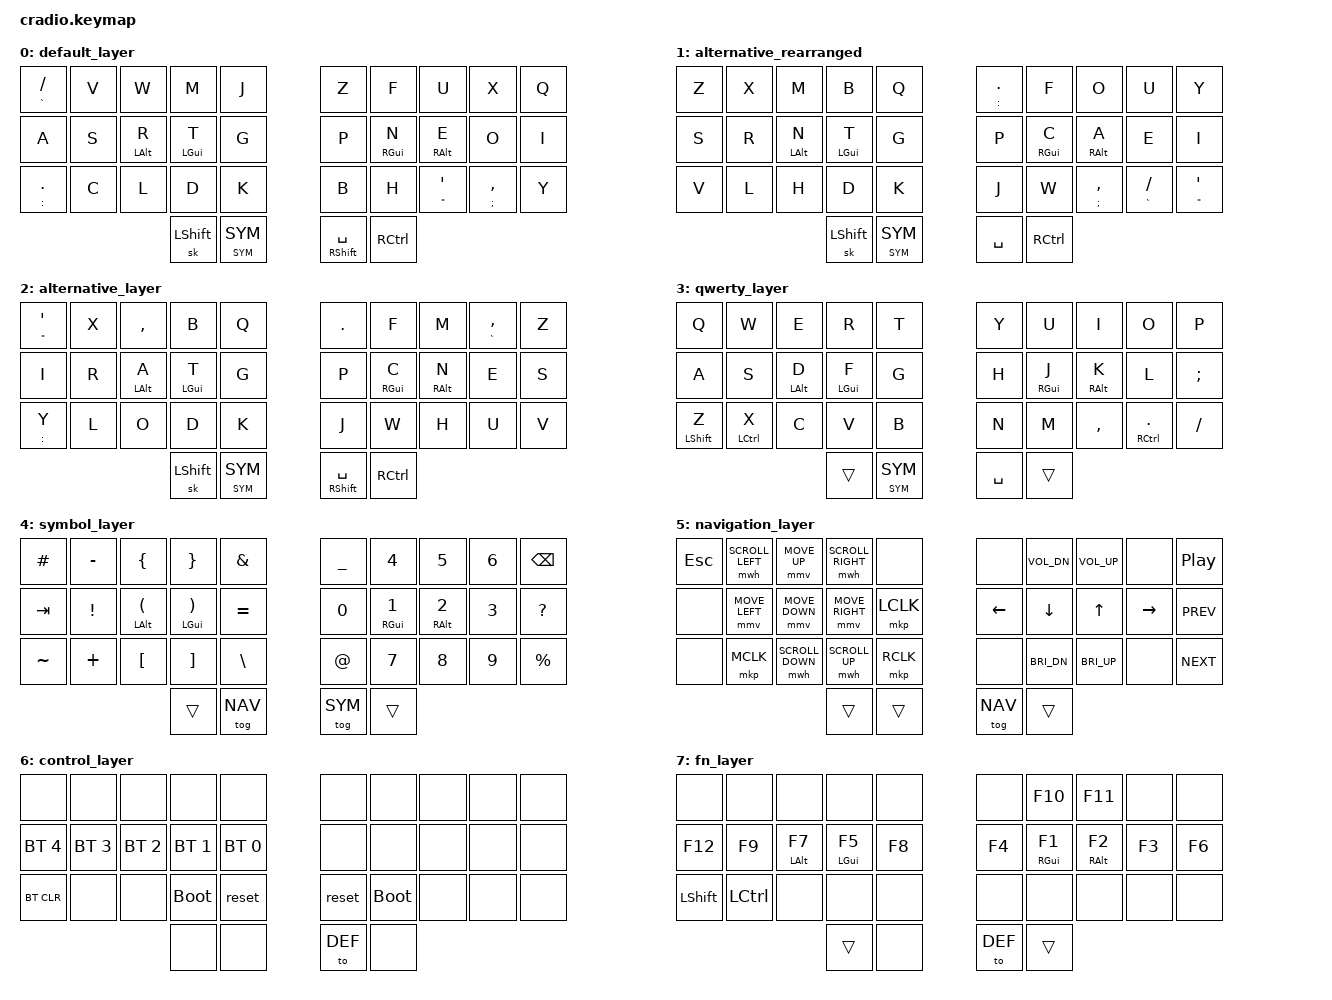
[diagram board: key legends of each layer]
#include <behaviors.dtsi>
#include <dt-bindings/zmk/keys.h>
#include <dt-bindings/zmk/bt.h>
#include <dt-bindings/zmk/mouse.h> 

#define DEF 0
#define ALT 1
#define ALTR 2
#define QWE 3
#define SYM 4
#define NAV 5
#define CON 6
#define FN 7


&mt {
    flavor = "tap-preferred";
    tapping_term_ms = <250>;
};

//                KEY POSITIONS
// 
//          ╭────────────────────╮ ╭────────────────────╮
//          │  0   1   2   3   4 │ │  5   6   7   8   9 │
//          │ 10  11  12  13  14 │ │ 15  16  17  18  19 │
//          │ 20  21  22  23  24 │ │ 25  26  27  28  29 │
//          ╰──────────╮  30  31 │ │ 32  33  ╭──────────╯
//                     ╰─────────╯ ╰─────────╯           
// 

&mmv {
   time-to-max-speed-ms = <680>;
   acceleration-exponent=<2>;
};

/ {
  macros {
    del_word: del_word {
      compatible = "zmk,behavior-macro";
      label = "ZM_del_word";
      #binding-cells = <0>;
      bindings
        = <&macro_press &kp LALT>
        , <&macro_tap &kp BSPC>
        , <&macro_release &kp LALT>
        ;
     };
  };

  combos {
    compatible = "zmk,combos";

    bt_layer_toggle {
      timeout-ms=<350>;
      key-positions = <0 9>;
      bindings = <&tog CON>;
    };

    combo_esc {
      timeout-ms = <50>;
      key-positions = <0 1>;
      bindings = <&kp ESC>;
    };

    combo_ent {
      timeout-ms = <50>;
      key-positions = <27 28>;
      bindings = <&kp RET>;
    };

    qwerty_layout_toggle {
      timeout-ms = <350>;
      key-positions = <0 1 2 3>;
      bindings = <&tog QWE>;
      layers = <DEF ALT QWE ALTR>;
    };

    alternative_layout_toggle {
      timeout-ms = <350>;
      key-positions = <10 11 12 13>;
      bindings = <&tog ALT>;
      layers = <DEF QWE ALT ALTR>;
    };

    rearranged_alternative_layout_toggle {
      timeout-ms = <350>;
      key-positions = <6 7 8 9>;
      bindings = <&tog ALT>;
      layers = <DEF QWE ALT ALTR>;
    };

    home_layer_jump {
      timeout-ms = <350>;
      key-positions = <31 32>;
      bindings = <&to DEF>;
    };
  };

  behaviors {
    hm: hold_mods {
      compatible = "zmk,behavior-hold-tap";
      label = "HOLD_MODS";
      #binding-cells = <2>;
      tapping-term-ms = <250>;
      quick-tap-ms = <0>;
      flavor = "tap-preferred";
      bindings = <&kp>, <&kp>;
    };

    lm: layer_mod {
      compatible = "zmk,behavior-hold-tap";
      label = "LAYER_MODS";
      #binding-cells = <2>;
      tapping-term-ms = <250>;
      quick-tap-ms = <0>;
      flavor = "tap-preferred";
      bindings = <&to>, <&tog>;
    };

    hl: hold_layer {
      compatible = "zmk,behavior-hold-tap";
      label = "HOLD_LAYER";
      #binding-cells = <2>;
      tapping-term-ms = <250>;
      quick-tap-ms = <0>;
      flavor = "tap-preferred";
      bindings = <&mo>, <&tog>;
    };

    dw: tapdance_delete {
      compatible = "zmk,behavior-tap-dance";
      label = "tapdance_delete";
      #binding-cells = <0>;
      tapping-term-ms = <200>;
      bindings = <&kp H>, <&del_word>;
    };
  };

  keymap {
    compatible = "zmk,keymap";

    default_layer {
      bindings = <
        &hm GRAVE FSLH  &kp V  &kp W       &kp M       &kp J         &kp Z             &kp F       &kp U        &kp X           &kp Q
        &kp A           &kp S  &hm LALT R  &hm LGUI T  &kp G         &kp P             &hm RGUI N  &hm RALT E   &kp O           &kp I
        &hm COLON DOT   &kp C  &kp L       &kp D       &kp K         &kp B             &kp H       &hm DQT SQT  &hm SEMI COMMA  &kp Y
                                           &sk LSHIFT  &hl SYM SYM   &mt RSHIFT SPACE  &kp RCTRL
      >;
    };

    alternative_rearranged {
      bindings = <
        &kp Z  &kp X  &kp M       &kp B       &kp Q         &hm COLON DOT &kp F       &kp O           &kp U           &kp Y
        &kp S  &kp R  &hm LALT N  &hm LGUI T  &kp G         &kp P         &hm RGUI C  &hm RALT A      &kp E           &kp I
        &kp V  &kp L  &kp H       &kp D       &kp K         &kp J         &kp W       &hm SEMI COMMA  &hm GRAVE FSLH  &hm DQT SQT
                                  &sk LSHIFT  &hl SYM SYM   &kp SPACE     &kp RCTRL
      >;
    };

    alternative_layer {
      bindings = <
        &hm DQT SQT  &kp X  &kp COMMA   &kp B       &kp Q         &kp DOT           &kp F       &kp M       &hm GRAVE COMMA  &kp Z
        &kp I        &kp R  &hm LALT A  &hm LGUI T  &kp G         &kp P             &hm RGUI C  &hm RALT N  &kp E            &kp S
        &hm COLON Y  &kp L  &kp O       &kp D       &kp K         &kp J             &kp W       &kp H       &kp U            &kp V
                                        &sk LSHIFT  &hl SYM SYM   &mt RSHIFT SPACE  &kp RCTRL
      >;
    };

    qwerty_layer {
      bindings = <
        &kp Q         &kp W        &kp E       &kp R       &kp T         &kp Y      &kp U       &kp I       &kp O          &kp P
        &kp A         &kp S        &hm LALT D  &hm LGUI F  &kp G         &kp H      &hm RGUI J  &hm RALT K  &kp L          &kp SEMI
        &mt LSHIFT Z  &mt LCTRL X  &kp C       &kp V       &kp B         &kp N      &kp M       &kp COMMA   &mt RCTRL DOT  &kp FSLH
                                               &trans      &hl SYM SYM   &kp SPACE  &trans
      >;
    };

//                SYMBOL POSITIONS
// 
//          ╭────────────────────╮ ╭────────────────────╮
//          │  #   -   {   }   & │ │  _   4   5   6 BSPC│
//          │TAB   !   (   )   = │ │  0   1   2   3   ? │
//          │  ~   +   [   ]   \ │ │  @   7   8   9   % │
//          ╰──────────╮  30  31 │ │ 32  33  ╭──────────╯
//                     ╰─────────╯ ╰─────────╯           
// 
//                SYMBOL POSITIONS
// 
//          ╭────────────────────╮ ╭────────────────────╮
//          │  #   -   {   }   & │ │  _   $   %   ^ BSPC│
//          │TAB   !   (   )   = │ │  )   !   @   #   ? │
//          │  ~   +   [   ]   \ │ │  @   &   "   (   % │
//          ╰──────────╮  30  31 │ │ 32  33  ╭──────────╯
//                     ╰─────────╯ ╰─────────╯           
// 

    symbol_layer {
      bindings = <
        &kp HASH   &kp MINUS  &kp LBRC       &kp RBRC       &kp AMPS     &kp UNDER  &kp N4       &kp N5       &kp N6  &kp BSPC
        &kp TAB    &kp EXCL   &hm LALT LPAR  &hm LGUI RPAR  &kp EQUAL    &kp N0     &hm RGUI N1  &hm RALT N2  &kp N3  &kp QMARK
        &kp TILDE  &kp PLUS   &kp LBKT       &kp RBKT       &kp BSLH     &kp AT     &kp N7       &kp N8       &kp N9  &kp PRCNT
                                             &trans         &tog NAV     &tog SYM    &trans 
      >;
    };

    navigation_layer {
      bindings = <
        &kp ESC  &mwh SCROLL_LEFT  &mmv MOVE_UP      &mwh SCROLL_RIGHT  &none         &none     &kp C_VOL_DN  &kp C_VOL_UP  &none      &kp C_PP
        &none    &mmv MOVE_LEFT    &mmv MOVE_DOWN    &mmv MOVE_RIGHT    &mkp LCLK     &kp LEFT  &kp DOWN      &kp UP        &kp RIGHT  &kp C_PREV 
        &none    &mkp MCLK         &mwh SCROLL_DOWN  &mwh SCROLL_UP     &mkp RCLK     &none     &kp C_BRI_DN  &kp C_BRI_UP  &none      &kp C_NEXT
                                                     &trans             &trans        &tog NAV  &trans
      >;
    };

    control_layer {
      bindings = <
        &none         &none         &none         &none         &none           &none    &none        &none  &none  &none  
        &bt BT_SEL 4  &bt BT_SEL 3  &bt BT_SEL 2  &bt BT_SEL 1  &bt BT_SEL 0    &none    &none        &none  &none  &none  
        &bt BT_CLR    &none         &none         &bootloader   &reset          &reset   &bootloader  &none  &none  &none  
                                                  &none         &none           &to DEF  &none
      >;
    };

    fn_layer {
      bindings = <
        &none       &none      &none        &none        &none     &none    &kp F10      &kp F11      &none   &none  
        &kp F12     &kp F9     &hm LALT F7  &hm LGUI F5  &kp F8    &kp F4   &hm RGUI F1  &hm RALT F2  &kp F3  &kp F6  
        &kp LSHIFT  &kp LCTRL  &none        &none        &none     &none    &none        &none        &none   &none  
                                            &trans       &none     &to DEF  &trans
      >;
    };
   
  };
};
